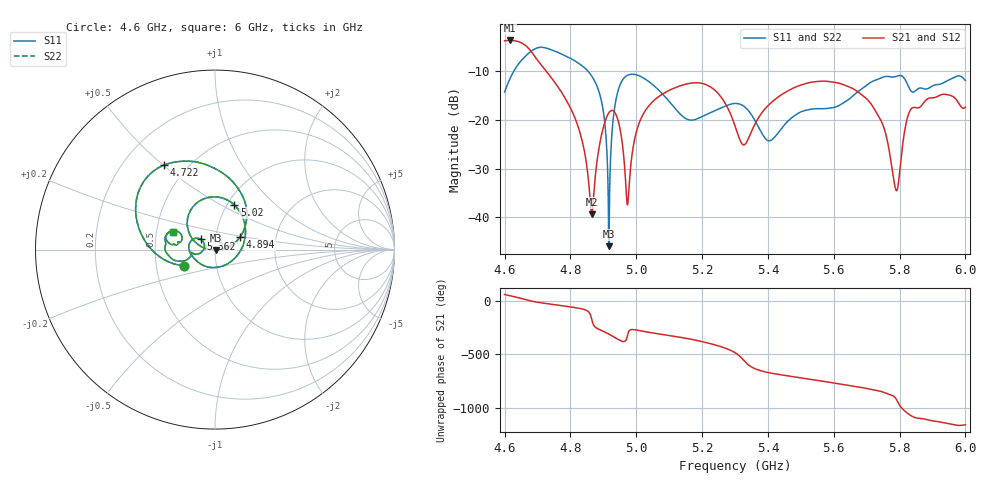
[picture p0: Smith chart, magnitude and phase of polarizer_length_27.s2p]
! TOUCHSTONE file generated by CST MICROWAVE STUDIO
! Date and time: Sun Dec  1 17:17:05 2024
! Project name: test_tuning.cst
! Parameters = {airCoaxOuterDiameter=3; chamferAngle=45; chamferWidth=24; connectorLength=10; drillingHoleDiameter=4.1; feedLength=60; flareDiameter=130; flareLength=70; gratingDistance=0; gratingGap=1.90274; outletLength=30; polarizerLength=116; probe1Diameter=1.3; probe1Distance=14; probe1Length=1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
! Header version: 2024
! Port assignment regex: !\s*Touchstone port\s*([0-9]+)\s*=\s*(CST MWS port|CST DES external port|CST DES block port)\s*(.+)\s* \(\"(.*)\"\)(\s*mode\s*([0-9]+))?.*
! Touchstone port assignment:
! Touchstone port 1 = CST MWS port 1 ("Input1")
! Touchstone port 2 = CST MWS port 2 ("Input2")
# GHz S MA R 50
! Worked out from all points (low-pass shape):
!   1001 points, 4.6 GHz to 6 GHz, reference 50 ohm
!   highest |S21| = -3.70 dB at 4.617 GHz (marker M1); lowest = -39.4 dB at 4.865 GHz (marker M2)
!   |S21| within 3 dB of the highest: start of sweep to 4.689 GHz
!   lowest |S11| = -45.9 dB at 4.916 GHz (marker M3), VSWR 1.01, Z = 50.4 - j0.349 ohm
!   |S11| at or under -10 dB: start of sweep to 4.628 GHz; 4.853 GHz to end of sweep
!   |S22| runs from -45.9 to -5.1 dB; largest |S21 - S12| = 6.1e-07
!   S11 on the Smith chart (normalised r, x): 4.6 GHz: 0.70, -0.13; 4.722 GHz: 0.37, +0.50; 4.894 GHz: 1.31, +0.19; 5.02 GHz: 1.08, +0.58; 5.362 GHz: 0.85, +0.10; 6 GHz: 0.61, +0.12
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4.6  0.1929 -151.8  0.6484 60.5  0.6484 60.5  0.1929 -151.8
4.6168  0.2673 -165.2  0.6529 49.4  0.6529 49.4  0.2673 -165.2
4.7218  0.5502 121.3  0.3306 -21.6  0.3306 -21.6  0.5502 121.3
4.8338  0.3622 68.9  0.06423 -73.3  0.06423 -73.3  0.3622 68.9
4.8646  0.2817 51.3  0.01074 -170.1  0.01074 -170.1  0.2817 51.3
4.894  0.1574 26.9  0.0689 85.0  0.0689 85.0  0.1574 26.9
4.9164  0.005052 -43.3  0.1178 51.0  0.1178 51.0  0.005051 -43.3
4.9388  0.1641 148.9  0.1126 10.6  0.1126 10.6  0.1641 148.9
4.9738  0.2871 105.0  0.01343 44.6  0.01343 44.6  0.2871 105.0
5.02  0.2711 66.7  0.1128 77.1  0.1128 77.1  0.2711 66.7
5.0676  0.2027 33.1  0.1727 52.1  0.1727 52.1  0.2027 33.1
5.2104  0.1125 -133.5  0.2309 -27.5  0.2309 -27.5  0.1125 -133.5
5.3  0.1474 172.2  0.08681 -123.0  0.08681 -123.0  0.1474 172.2
5.3266  0.1382 156.6  0.05521 164.3  0.05521 164.3  0.1382 156.6
5.3616  0.09691 143.9  0.0917 85.0  0.0917 85.0  0.09691 143.9
5.4064  0.06113 171.0  0.1464 47.0  0.1464 47.0  0.06113 171.0
5.5338  0.1291 -172.0  0.2439 -14.8  0.2439 -14.8  0.1291 -172.0
5.6962  0.2216 -163.4  0.1687 -95.8  0.1687 -95.8  0.2216 -163.4
5.7676  0.2781 175.9  0.05032 -153.3  0.05032 -153.3  0.2781 175.9
5.79  0.2797 171.0  0.01878 161.4  0.01878 161.4  0.2797 171.0
5.8362  0.1955 159.5  0.1306 4.5  0.1306 4.5  0.1955 159.5
6  0.254 157.8  0.1346 -78.1  0.1346 -78.1  0.254 157.8
